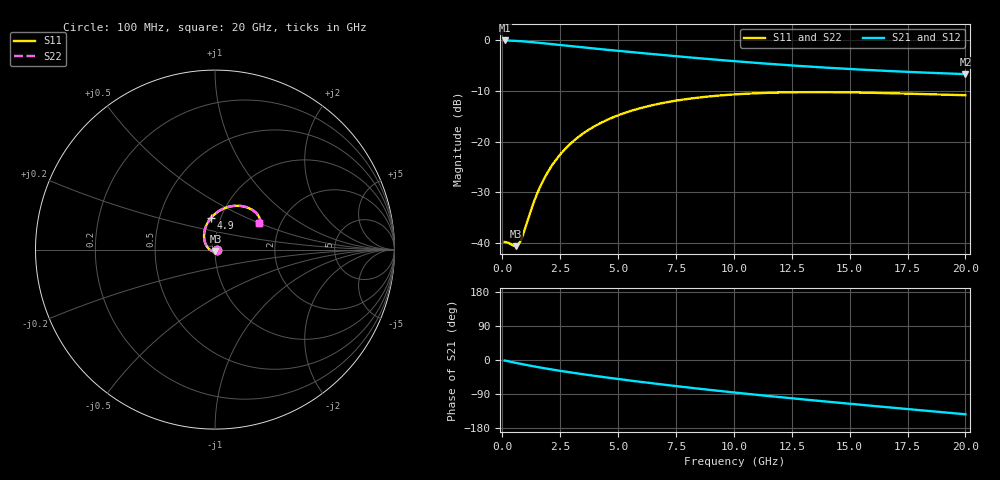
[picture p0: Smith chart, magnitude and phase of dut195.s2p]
! Touchstone file exported from HFSS 2024.1.0
!  File:  C:/UserFiles/LocalFiles/RDL_TSV_Batchsim/temp_RDL_TSV_195_1779442523.aedt
!  Generated:  05:50:53 PM May 22, 2026
!  Design:  RDL_TSV
!  Project:  temp_RDL_TSV_195_1779442523
!  Setup:  Setup1
!  Solution:  Sweep
! Variables:
!  dtsv = 12.88um
!  hbump = 3um
!  htsv = 63.13um
!  ldown = 277.33um
!  lrdl = 251.78um
!  p = 40
!  p1 = 42.61um
!  rhole = 10um
!  subl = 1839.11um
!  t = 450um
!  tdown = 4.64um
!  trdl = 4.26um
!  viad = 10um
!  wdown = 17.37um
!  wrdl = 13.56um
!  xbump = 18um
# GHz S MA R 50.000000
! Terminal data exported
! Port[1] = TM1_1_T1
! Port[2] = TM1_4_T1
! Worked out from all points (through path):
!   200 points, 100 MHz to 20 GHz, reference 50 ohm
!   highest |S21| = -0.09 dB at 100 MHz (marker M1); lowest = -6.7 dB at 20 GHz (marker M2)
!   group delay of S21, straight-line fit = 18.8 ps
!   lowest |S11| = -40.6 dB at 600 MHz (marker M3), VSWR 1.02, Z = 50.3 - j0.903 ohm
!   |S11| at or under -10 dB: start of sweep to end of sweep
!   |S22| runs from -40.6 to -10.2 dB; largest |S21 - S12| = 9.5e-15
!   S11 on the Smith chart (normalised r, x): 100 MHz: 1.02, -0.00; 4.9 GHz: 0.90, +0.33; 20 GHz: 1.56, +0.49
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0.1  0.01029 -8.5  0.9893 -1.3  0.9893 -1.3  0.01029 -8.5
! Gamma 0 0 0 0
! Port Impedance 50 0 50 0
0.6  0.009359 -73.7  0.9793 -7.8  0.9793 -7.8  0.009352 -73.7
0.7  0.009717 -91.8  0.9762 -9.0  0.9762 -9.0  0.009712 -91.9
0.8  0.01065 -109.7  0.9728 -10.3  0.9728 -10.3  0.01065 -109.8
0.9  0.0122 -125.8  0.9691 -11.5  0.9691 -11.5  0.01221 -126.0
1.3  0.0232 -168.4  0.9518 -16.1  0.9518 -16.1  0.02324 -168.5
1.5  0.03055 178.7  0.9422 -18.4  0.9422 -18.4  0.03061 178.6
1.7  0.03863 168.5  0.9323 -20.5  0.9323 -20.5  0.03871 168.4
2  0.05167 156.3  0.9171 -23.7  0.9171 -23.7  0.05177 156.3
2.3  0.06534 146.4  0.9018 -26.7  0.9018 -26.7  0.06548 146.4
2.7  0.08397 135.5  0.882 -30.5  0.882 -30.5  0.08415 135.5
3.5  0.1206 118.5  0.8446 -37.7  0.8446 -37.7  0.1209 118.5
4.2  0.1506 106.9  0.8143 -43.6  0.8143 -43.6  0.1509 106.9
4.9  0.1778 97.2  0.7858 -49.3  0.7858 -49.3  0.1782 97.2
5.8  0.2084 86.7  0.7515 -56.4  0.7515 -56.4  0.2089 86.7
6.8  0.2366 77.0  0.7159 -63.8  0.7159 -63.8  0.2372 77.1
8.3  0.2683 65.3  0.6673 -74.4  0.6673 -74.4  0.269 65.3
10.1  0.2922 54.3  0.6166 -86.3  0.6166 -86.3  0.2929 54.3
11.7  0.3031 46.7  0.5785 -96.2  0.5785 -96.2  0.3039 46.8
13.4  0.3068 40.5  0.5446 -106.3  0.5446 -106.3  0.3077 40.6
16.7  0.2997 32.9  0.495 -125.0  0.495 -125.0  0.3006 33.0
20  0.2861 30.6  0.4613 -143.3  0.4613 -143.3  0.2871 30.7
